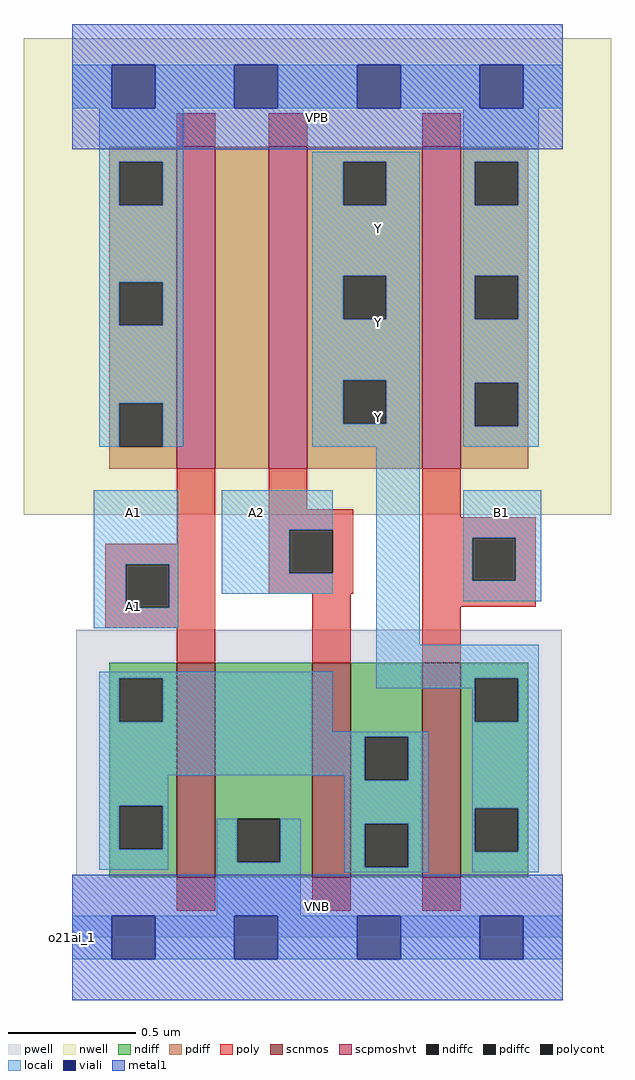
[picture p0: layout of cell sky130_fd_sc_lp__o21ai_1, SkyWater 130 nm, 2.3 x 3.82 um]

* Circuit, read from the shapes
.subckt sky130_fd_sc_lp__o21ai_1 A1 A2 B1 VGND VNB VPB VPWR Y
XM1 VGND A1 n1 VNB sky130_fd_pr__nfet_01v8 w=0.84 l=0.15
XM2 n1 A2 VGND VNB sky130_fd_pr__nfet_01v8 w=0.84 l=0.15
XM3 Y B1 n1 VNB sky130_fd_pr__nfet_01v8 w=0.84 l=0.15
XM4 n2 A1 VPWR VPB sky130_fd_pr__pfet_01v8_hvt w=1.26 l=0.15
XM5 Y A2 n2 VPB sky130_fd_pr__pfet_01v8_hvt w=1.26 l=0.15
XM6 VPWR B1 Y VPB sky130_fd_pr__pfet_01v8_hvt w=1.26 l=0.15
.ends

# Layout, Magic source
magic
tech sky130A
magscale 1 2
<< nwell >>
rect -38 331 422 704
<< pwell >>
rect 3 49 383 241
rect 0 0 384 49
<< scnmos >>
rect 82 47 112 215
rect 188 47 218 215
rect 274 47 304 215
<< scpmoshvt >>
rect 82 367 112 619
rect 154 367 184 619
rect 274 367 304 619
<< ndiff >>
rect 29 203 82 215
rect 29 169 37 203
rect 71 169 82 203
rect 29 103 82 169
rect 29 69 37 103
rect 71 69 82 103
rect 29 47 82 69
rect 112 93 188 215
rect 112 59 129 93
rect 163 59 188 93
rect 112 47 188 59
rect 218 157 274 215
rect 218 123 229 157
rect 263 123 274 157
rect 218 89 274 123
rect 218 55 229 89
rect 263 55 274 89
rect 218 47 274 55
rect 304 203 357 215
rect 304 169 315 203
rect 349 169 357 203
rect 304 101 357 169
rect 304 67 315 101
rect 349 67 357 101
rect 304 47 357 67
<< pdiff >>
rect 29 607 82 619
rect 29 573 37 607
rect 71 573 82 607
rect 29 513 82 573
rect 29 479 37 513
rect 71 479 82 513
rect 29 418 82 479
rect 29 384 37 418
rect 71 384 82 418
rect 29 367 82 384
rect 112 367 154 619
rect 184 607 274 619
rect 184 573 212 607
rect 246 573 274 607
rect 184 518 274 573
rect 184 484 212 518
rect 246 484 274 518
rect 184 436 274 484
rect 184 402 212 436
rect 246 402 274 436
rect 184 367 274 402
rect 304 607 357 619
rect 304 573 315 607
rect 349 573 357 607
rect 304 518 357 573
rect 304 484 315 518
rect 349 484 357 518
rect 304 434 357 484
rect 304 400 315 434
rect 349 400 357 434
rect 304 367 357 400
<< ndiffc >>
rect 37 169 71 203
rect 37 69 71 103
rect 129 59 163 93
rect 229 123 263 157
rect 229 55 263 89
rect 315 169 349 203
rect 315 67 349 101
<< pdiffc >>
rect 37 573 71 607
rect 37 479 71 513
rect 37 384 71 418
rect 212 573 246 607
rect 212 484 246 518
rect 212 402 246 436
rect 315 573 349 607
rect 315 484 349 518
rect 315 400 349 434
<< poly >>
rect 82 619 112 645
rect 154 619 184 645
rect 274 619 304 645
rect 82 308 112 367
rect 26 292 112 308
rect 26 258 42 292
rect 76 258 112 292
rect 154 335 184 367
rect 154 319 220 335
rect 154 285 170 319
rect 204 285 220 319
rect 154 269 220 285
rect 274 329 304 367
rect 274 313 363 329
rect 274 279 313 313
rect 347 279 363 313
rect 26 242 112 258
rect 82 215 112 242
rect 188 215 218 269
rect 274 259 363 279
rect 274 215 304 259
rect 82 21 112 47
rect 188 21 218 47
rect 274 21 304 47
<< polycont >>
rect 42 258 76 292
rect 170 285 204 319
rect 313 279 347 313
<< locali >>
rect 0 649 31 683
rect 65 649 127 683
rect 161 649 223 683
rect 257 649 319 683
rect 353 649 384 683
rect 21 607 87 649
rect 21 573 37 607
rect 71 573 87 607
rect 21 513 87 573
rect 21 479 37 513
rect 71 479 87 513
rect 21 418 87 479
rect 21 384 37 418
rect 71 384 87 418
rect 188 607 272 615
rect 188 573 212 607
rect 246 573 272 607
rect 188 518 272 573
rect 188 484 212 518
rect 246 484 272 518
rect 188 436 272 484
rect 188 402 212 436
rect 246 402 272 436
rect 188 384 272 402
rect 306 607 365 649
rect 306 573 315 607
rect 349 573 365 607
rect 306 518 365 573
rect 306 484 315 518
rect 349 484 365 518
rect 306 434 365 484
rect 306 400 315 434
rect 349 400 365 434
rect 306 384 365 400
rect 17 292 83 350
rect 17 258 42 292
rect 76 258 83 292
rect 117 319 204 350
rect 117 285 170 319
rect 117 269 204 285
rect 17 242 83 258
rect 238 229 272 384
rect 306 313 367 350
rect 306 279 313 313
rect 347 279 367 313
rect 306 263 367 279
rect 21 203 204 208
rect 21 169 37 203
rect 71 169 204 203
rect 238 203 365 229
rect 238 195 315 203
rect 21 161 204 169
rect 313 169 315 195
rect 349 169 365 203
rect 21 157 279 161
rect 21 127 229 157
rect 21 103 75 127
rect 21 69 37 103
rect 71 69 75 103
rect 213 123 229 127
rect 263 123 279 157
rect 21 53 75 69
rect 113 59 129 93
rect 163 59 179 93
rect 113 17 179 59
rect 213 89 279 123
rect 213 55 229 89
rect 263 55 279 89
rect 213 51 279 55
rect 313 101 365 169
rect 313 67 315 101
rect 349 67 365 101
rect 313 51 365 67
rect 0 -17 31 17
rect 65 -17 127 17
rect 161 -17 223 17
rect 257 -17 319 17
rect 353 -17 384 17
<< viali >>
rect 31 649 65 683
rect 127 649 161 683
rect 223 649 257 683
rect 319 649 353 683
rect 31 -17 65 17
rect 127 -17 161 17
rect 223 -17 257 17
rect 319 -17 353 17
<< metal1 >>
rect 0 683 384 715
rect 0 649 31 683
rect 65 649 127 683
rect 161 649 223 683
rect 257 649 319 683
rect 353 649 384 683
rect 0 617 384 649
rect 0 17 384 49
rect 0 -17 31 17
rect 65 -17 127 17
rect 161 -17 223 17
rect 257 -17 319 17
rect 353 -17 384 17
rect 0 -49 384 -17
<< labels >>
flabel pwell s 0 0 384 49 0 FreeSans 200 0 0 0 VNB
port 5 nsew ground bidirectional
flabel nwell s 0 617 384 666 0 FreeSans 200 0 0 0 VPB
port 6 nsew power bidirectional
rlabel comment s 0 0 0 0 4 o21ai_1
flabel metal1 s 0 617 384 666 0 FreeSans 340 0 0 0 VPWR
port 7 nsew power bidirectional
flabel metal1 s 0 0 384 49 0 FreeSans 340 0 0 0 VGND
port 4 nsew ground bidirectional
flabel locali s 31 242 65 276 0 FreeSans 340 0 0 0 A1
port 1 nsew signal input
flabel locali s 31 316 65 350 0 FreeSans 340 0 0 0 A1
port 1 nsew signal input
flabel locali s 127 316 161 350 0 FreeSans 340 0 0 0 A2
port 2 nsew signal input
flabel locali s 223 390 257 424 0 FreeSans 340 0 0 0 Y
port 8 nsew signal output
flabel locali s 223 464 257 498 0 FreeSans 340 0 0 0 Y
port 8 nsew signal output
flabel locali s 223 538 257 572 0 FreeSans 340 0 0 0 Y
port 8 nsew signal output
flabel locali s 319 316 353 350 0 FreeSans 340 0 0 0 B1
port 3 nsew signal input
<< properties >>
string LEFsite unit
string LEFclass CORE
string FIXED_BBOX 0 0 384 666
string GDS_FILE $PDKPATH/libs.ref/sky130_fd_sc_lp/gds/sky130_fd_sc_lp.gds
string LEFsymmetry X Y R90
string GDS_END 4587876
string GDS_START 4582980
<< end >>
